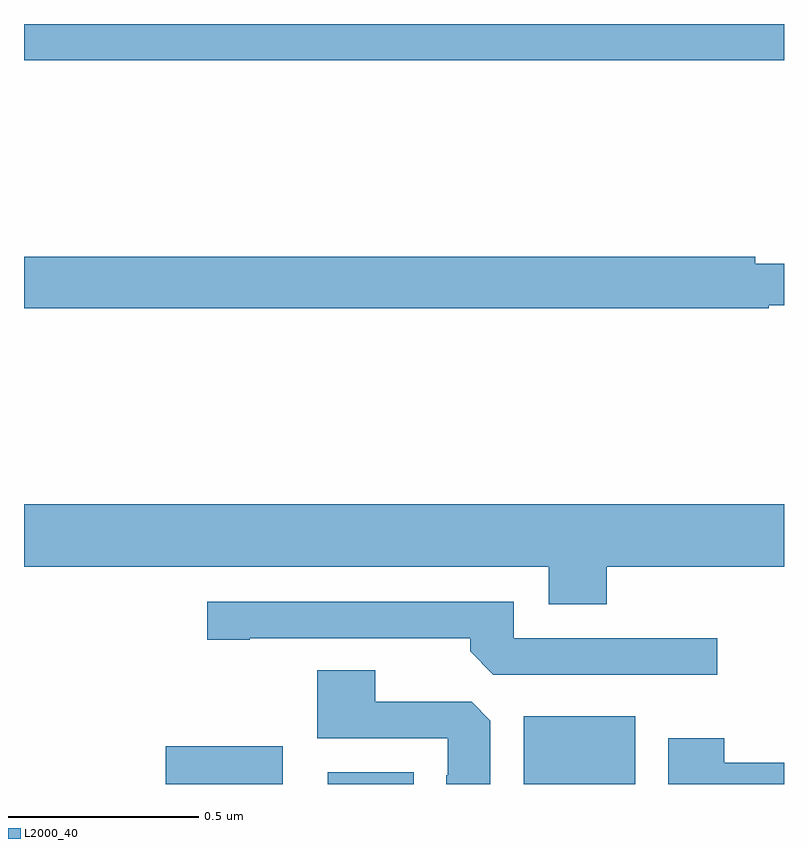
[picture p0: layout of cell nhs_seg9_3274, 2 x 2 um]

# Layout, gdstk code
import gdstk
lib = gdstk.Library(unit=1e-6, precision=1e-09)
def R(c, l, rs):  # rectangles x0, y0, x1, y1
    for r in rs: c.add(gdstk.rectangle(r[:2], r[2:], *l))
def P(c, l, *ps):  # polygons
    for p in ps: c.add(gdstk.Polygon(p, *l))
L2000_40 = (2000, 40)

nhs_seg9_3274 = lib.new_cell('nhs_seg9_3274')
R(nhs_seg9_3274, L2000_40, [(151.373,1210.5,151.681,1210.6), (151.799,1210.5,152.026,1210.531), (152.315,1210.5,152.608,1210.678), (151,1212.404,153,1212.5)])
P(nhs_seg9_3274, L2000_40, [(152.96,1211.76),(153,1211.76),(153,1211.869),(152.924,1211.869),(152.924,1211.888),(151,1211.888),(151,1211.752),(152.96,1211.752)],
  [(152.534,1211.072),(153,1211.072),(153,1211.236),(151,1211.236),(151,1211.072),(152.381,1211.072),(152.381,1210.973),(152.534,1210.973)],
  [(152.824,1210.884),(152.289,1210.884),(152.289,1210.98),(151.482,1210.98),(151.482,1210.879),(151.594,1210.879),(151.594,1210.884),(152.174,1210.884),(152.174,1210.85),(152.235,1210.788),(152.824,1210.788)],
  [(152.227,1210.667),(152.178,1210.716),(151.924,1210.716),(151.924,1210.799),(151.772,1210.799),(151.772,1210.62),(152.115,1210.62),(152.115,1210.523),(152.111,1210.523),(152.111,1210.5),(152.227,1210.5)],
  [(153,1210.556),(152.843,1210.556),(152.843,1210.621),(152.696,1210.621),(152.696,1210.5),(153,1210.5)])

lib.write_gds('nhs_seg9_3274.gds')
